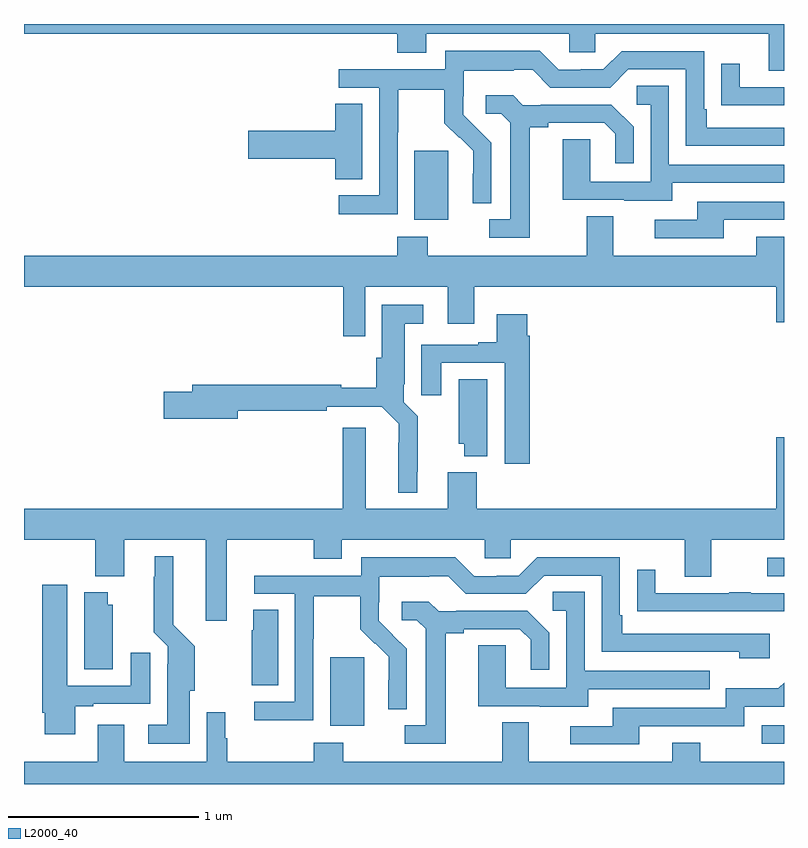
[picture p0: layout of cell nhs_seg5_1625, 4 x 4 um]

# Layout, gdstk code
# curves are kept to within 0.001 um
import gdstk
lib = gdstk.Library(unit=1e-6, precision=1e-09)
def R(c, l, rs):  # rectangles x0, y0, x1, y1
    for r in rs: c.add(gdstk.rectangle(r[:2], r[2:], *l))
def P(c, l, *ps):  # polygons
    for p in ps: c.add(gdstk.Polygon(p, *l))
L2000_40 = (2000, 40)

nhs_seg5_1625 = lib.new_cell('nhs_seg5_1625')
R(nhs_seg5_1625, L2000_40, [(212.883,865.011,213,865.107), (210.611,865.106,210.79,865.467), (212.913,865.893,213,865.989), (211.055,867.77,211.234,868.131)])
P(nhs_seg5_1625, L2000_40, [(213,868.799),(209,868.799),(209,868.748),(210.965,868.748),(210.965,868.649),(211.117,868.649),(211.117,868.748),(211.869,868.748),(211.869,868.65),(212.007,868.65),(212.007,868.748),(212.921,868.748),(212.921,868.554),(213,868.554)],
  [(210.966,868.228),(210.969,868.228),(210.969,868.452),(211.213,868.452),(211.213,868.277),(211.29,868.2),(211.293,868.203),(211.364,868.133),(211.364,868.01),(211.362,868.01),(211.362,867.856),(211.458,867.856),(211.458,868.174),(211.312,868.322),(211.312,868.419),(211.314,868.419),(211.314,868.553),(211.577,868.553),(211.577,868.557),(211.677,868.557),(211.77,868.464),(212.085,868.464),(212.181,868.56),(212.484,868.56),(212.484,868.158),(213,868.158),(213,868.254),(212.593,868.254),(212.593,868.351),(212.58,868.351),(212.58,868.656),(212.145,868.656),(212.049,868.56),(211.931,868.56),(211.931,868.557),(211.815,868.557),(211.715,868.657),(211.218,868.657),(211.218,868.56),(210.657,868.56),(210.657,868.464),(210.87,868.464),(210.87,867.897),(210.657,867.897),(210.657,867.799),(210.966,867.799)],
  [(213,868.467),(212.767,868.467),(212.767,868.591),(212.671,868.591),(212.671,868.372),(212.773,868.372),(212.773,868.371),(213,868.371)],
  [(212.413,867.963),(213,867.963),(213,868.059),(212.394,868.059),(212.394,868.475),(212.226,868.475),(212.226,868.374),(212.298,868.374),(212.298,867.969),(211.98,867.969),(211.98,868.193),(211.835,868.193),(211.835,867.873),(212.159,867.873),(212.159,867.869),(212.413,867.869)],
  [(211.663,868.256),(211.759,868.256),(211.759,868.278),(212.054,868.278),(212.111,868.221),(212.111,868.065),(212.208,868.065),(212.208,868.258),(212.092,868.374),(211.72,868.374),(211.72,868.371),(211.626,868.371),(211.574,868.423),(211.431,868.423),(211.431,868.326),(211.512,868.326),(211.559,868.279),(211.559,867.771),(211.449,867.771),(211.449,867.675),(211.663,867.675)],
  [(210.781,868.379),(210.638,868.379),(210.638,868.238),(210.18,868.238),(210.18,868.091),(210.638,868.091),(210.638,867.982),(210.781,867.982)],
  [(212.683,867.768),(213,867.768),(213,867.864),(212.543,867.864),(212.543,867.768),(212.319,867.768),(212.319,867.672),(212.683,867.672)],
  [(210.795,867.416),(211.229,867.416),(211.229,867.222),(211.369,867.222),(211.369,867.416),(212.96,867.416),(212.96,867.228),(213,867.228),(213,867.679),(212.855,867.679),(212.855,867.58),(212.101,867.58),(212.101,867.788),(211.961,867.788),(211.961,867.58),(211.125,867.58),(211.125,867.679),(210.965,867.679),(210.965,867.58),(209,867.58),(209,867.416),(210.679,867.416),(210.679,867.156),(210.795,867.156)],
  [(211.069,866.443),(211.073,866.443),(211.073,866.734),(210.999,866.808),(210.999,866.902),(211.003,866.902),(211.003,867.221),(211.102,867.221),(211.102,867.322),(210.884,867.322),(210.884,867.042),(210.854,867.042),(210.854,866.885),(210.67,866.885),(210.67,866.9),(209.885,866.9),(209.885,866.864),(209.736,866.864),(209.736,866.722),(210.124,866.722),(210.124,866.764),(210.593,866.764),(210.593,866.784),(210.884,866.784),(210.972,866.696),(210.971,866.333),(211.069,866.333)],
  [(211.661,867.158),(211.648,867.158),(211.648,867.271),(211.487,867.271),(211.487,867.124),(211.391,867.124),(211.391,867.111),(211.091,867.111),(211.091,866.844),(211.195,866.844),(211.195,867.015),(211.529,867.015),(211.529,866.484),(211.661,866.484)],
  [(211.438,866.93),(211.289,866.93),(211.289,866.589),(211.316,866.589),(211.316,866.525),(211.438,866.525)],
  [(210.067,866.084),(210.526,866.084),(210.526,865.985),(210.673,865.985),(210.673,866.084),(211.425,866.084),(211.425,865.986),(211.563,865.986),(211.563,866.084),(212.477,866.084),(212.477,865.89),(212.617,865.89),(212.617,866.084),(213,866.084),(213,866.623),(212.96,866.623),(212.96,866.248),(211.382,866.248),(211.382,866.44),(211.229,866.44),(211.229,866.248),(210.799,866.248),(210.799,866.674),(210.677,866.674),(210.677,866.248),(209,866.248),(209,866.084),(209.375,866.084),(209.375,865.892),(209.527,865.892),(209.527,866.084),(209.957,866.084),(209.957,865.659),(210.067,865.659)],
  [(209.872,865.29),(209.898,865.29),(209.898,865.523),(209.785,865.636),(209.785,865.999),(209.687,865.999),(209.687,865.889),(209.683,865.889),(209.683,865.598),(209.757,865.524),(209.757,865.43),(209.753,865.43),(209.753,865.111),(209.655,865.111),(209.655,865.01),(209.872,865.01)],
  [(210.522,865.564),(210.525,865.564),(210.525,865.788),(210.769,865.788),(210.769,865.613),(210.846,865.536),(210.849,865.539),(210.92,865.469),(210.92,865.346),(210.918,865.346),(210.918,865.192),(211.014,865.192),(211.014,865.51),(210.868,865.658),(210.868,865.755),(210.87,865.755),(210.87,865.889),(211.133,865.889),(211.133,865.893),(211.233,865.893),(211.326,865.8),(211.641,865.8),(211.737,865.896),(212.04,865.896),(212.04,865.494),(212.765,865.494),(212.765,865.46),(212.926,865.46),(212.926,865.59),(212.149,865.59),(212.149,865.687),(212.136,865.687),(212.136,865.992),(211.701,865.992),(211.605,865.896),(211.487,865.896),(211.487,865.893),(211.371,865.893),(211.271,865.993),(210.774,865.993),(210.774,865.896),(210.213,865.896),(210.213,865.8),(210.426,865.8),(210.426,865.233),(210.213,865.233),(210.213,865.135),(210.522,865.135)],
  [(213,865.803),(212.825,865.803),(212.825,865.808),(212.713,865.808),(212.713,865.803),(212.323,865.803),(212.323,865.927),(212.227,865.927),(212.227,865.708),(212.329,865.708),(212.329,865.707),(213,865.707)],
  [(209.269,865.209),(209.365,865.209),(209.365,865.221),(209.665,865.221),(209.665,865.489),(209.561,865.489),(209.561,865.317),(209.227,865.317),(209.227,865.849),(209.096,865.849),(209.096,865.174),(209.108,865.174),(209.108,865.062),(209.269,865.062)],
  [(211.969,865.299),(212.609,865.299),(212.609,865.395),(211.95,865.395),(211.95,865.811),(211.782,865.811),(211.782,865.71),(211.854,865.71),(211.854,865.305),(211.536,865.305),(211.536,865.529),(211.391,865.529),(211.391,865.209),(211.715,865.209),(211.715,865.205),(211.969,865.205)],
  [(209.467,865.743),(209.44,865.743),(209.44,865.807),(209.318,865.807),(209.318,865.402),(209.467,865.402)],
  [(211.219,865.592),(211.315,865.592),(211.315,865.614),(211.61,865.614),(211.667,865.557),(211.667,865.401),(211.764,865.401),(211.764,865.594),(211.648,865.71),(211.276,865.71),(211.276,865.707),(211.182,865.707),(211.13,865.759),(210.987,865.759),(210.987,865.662),(211.068,865.662),(211.115,865.615),(211.115,865.107),(211.005,865.107),(211.005,865.011),(211.219,865.011)],
  [(210.337,865.715),(210.206,865.715),(210.206,865.607),(210.199,865.607),(210.199,865.318),(210.337,865.318)],
  [(212.239,865.104),(212.79,865.104),(212.79,865.206),(213,865.206),(213,865.332),(212.971,865.303),(212.694,865.303),(212.694,865.2),(212.099,865.2),(212.099,865.104),(211.875,865.104),(211.875,865.008),(212.239,865.008)],
  [(213,864.916),(212.559,864.916),(212.559,865.015),(212.411,865.015),(212.411,864.916),(211.657,864.916),(211.657,865.124),(211.517,865.124),(211.517,864.916),(210.681,864.916),(210.681,865.015),(210.526,865.015),(210.526,864.916),(210.07,864.916),(210.07,865.04),(210.058,865.04),(210.058,865.177),(209.961,865.177),(209.961,864.916),(209.527,864.916),(209.527,865.111),(209.387,865.111),(209.387,864.916),(209,864.916),(209,864.799),(213,864.799)])

lib.write_gds('nhs_seg5_1625.gds')
